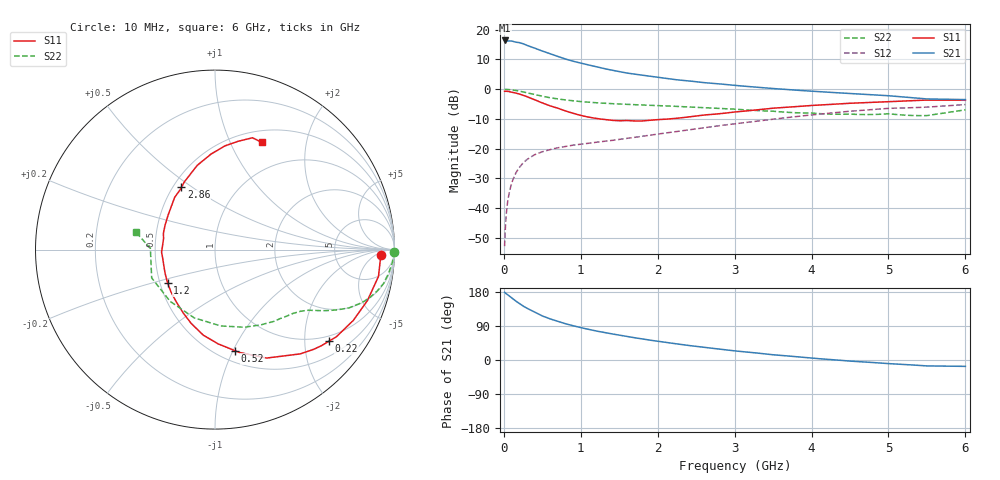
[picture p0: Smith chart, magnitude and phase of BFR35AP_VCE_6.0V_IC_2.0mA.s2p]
! Infineon Technologies  Discrete & RF Semiconductors
! BFR35AP
! VCE =  6.0 V,  IC =  2.0 mA
! Common Emitter S-Parameters:  Nov 2015
# GHz  S  MA  R  50
!  f  S11  S21  S12  S22
! GHz  MAG  ANG  MAG  ANG  MAG  ANG  MAG  ANG
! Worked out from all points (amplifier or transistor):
!   210 points, 10 MHz to 6 GHz, reference 50 ohm
!   highest |S21| = 16.4 dB at 10 MHz (marker M1)
!   |S21| within 3 dB of that: start of sweep to 442.3 MHz
!   unconditionally stable (mu >= 1): 1.2 GHz to 3.433 GHz
!   at 185 MHz: K = 0.22, MSG = 21.3 dB, |S12| = -26.9 dB
!   at 1.52 GHz: K = 1.11, MAG = 9.3 dB, |S12| = -16.8 dB
!   at 6 GHz: K = 0.96, MSG = 0.8 dB, |S12| = -5.2 dB
!   S11 on the Smith chart (normalised r, x): 10 MHz: 21, -9; 220 MHz: 0.86, -2.59; 520 MHz: 0.61, -1.02; 1.2 GHz: 0.55, -0.23; 2.86 GHz: 0.55, +0.45; 6 GHz: 0.64, +1.33
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0.01  0.9233 -1.9  6.599 178.6  0.0023 87.4  0.9982 -0.7
0.03  0.9219 -5.4  6.493 175.1  0.0075 85.1  0.9909 -2.3
0.07  0.9092 -12.9  6.485 169.1  0.0181 81.5  0.9851 -5.4
0.1  0.8954 -18.5  6.489 164.5  0.0258 79.1  0.9761 -7.8
0.15  0.8657 -27.1  6.198 156.3  0.0377 74.4  0.9577 -11.4
0.22  0.8144 -38.8  5.968 146.6  0.0518 67.8  0.9187 -15.6
0.26  0.7828 -45.1  5.753 141.2  0.0591 64.9  0.8937 -17.9
0.3  0.7507 -50.7  5.461 136.4  0.0657 62.8  0.8705 -19.8
0.4  0.669 -64.6  4.913 126.3  0.0793 56.6  0.8145 -23.5
0.52  0.5743 -78.8  4.292 114.8  0.0903 52.0  0.7519 -26.6
0.6  0.5256 -88.1  3.951 108.6  0.0966 49.9  0.7184 -28.2
0.7  0.481 -97.8  3.562 101.9  0.1035 48.3  0.6869 -29.7
0.84  0.4157 -111.3  3.109 93.7  0.1113 46.7  0.6517 -31.3
1.02  0.3577 -128.2  2.705 84.5  0.1195 46.2  0.6167 -33.3
1.2  0.3231 -144.9  2.386 76.5  0.1282 46.5  0.5914 -35.4
1.6  0.2981 -177.3  1.869 61.9  0.1495 48.1  0.5567 -40.3
2.02  0.3089 154.7  1.569 49.0  0.1775 49.8  0.528 -46.9
2.86  0.3941 118.3  1.208 27.4  0.2491 49.0  0.4708 -65.2
3.1  0.425 111.7  1.131 22.2  0.2724 47.3  0.4527 -72.3
4.1  0.5414 90.7  0.909 3.4  0.3806 38.0  0.3891 -111.5
5.1  0.6243 76.6  0.758 -10.6  0.4799 23.5  0.3757 -160.6
6  0.6518 66.3  0.669 -16.8  0.5522 11.9  0.4505 167.6
